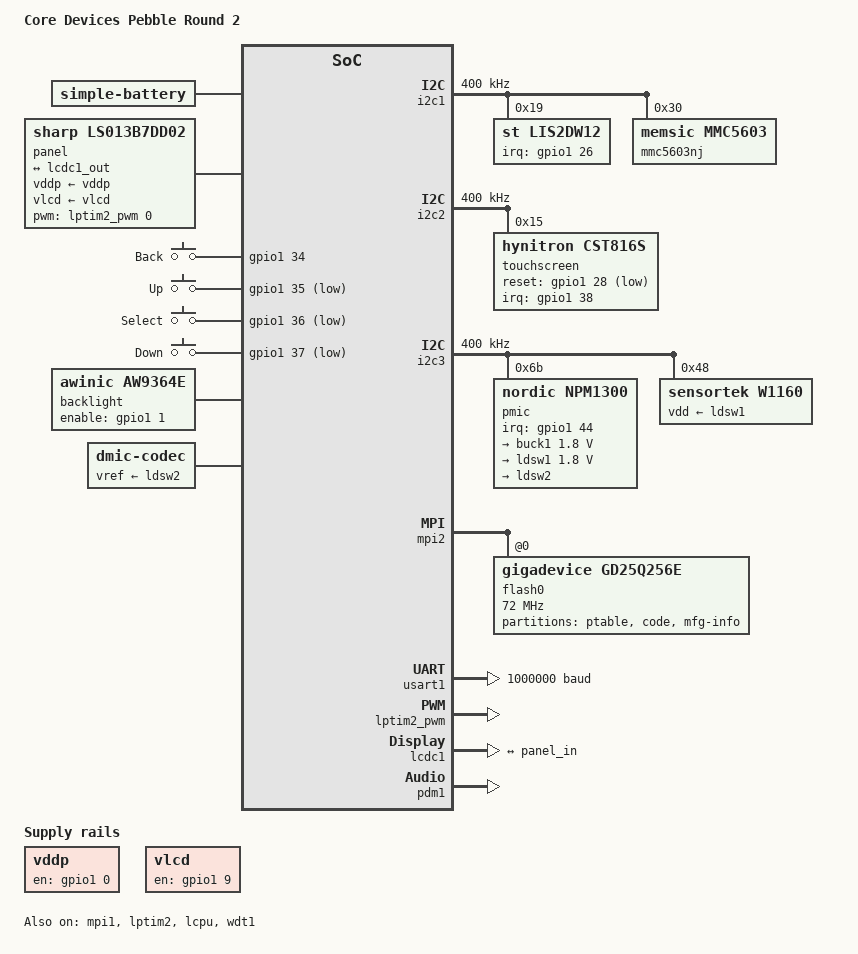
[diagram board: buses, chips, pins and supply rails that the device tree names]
// SPDX-FileCopyrightText: 2026 Core Devices LLC
// SPDX-License-Identifier: (GPL-2.0-only OR BSD-2-Clause)

#include "sifli/sf32lb52j.dtsi"
#include "sifli/sf32lb52xud.dtsi"
#include "getafix-pinctrl.dtsi"

#include <dt-bindings/gpio/gpio.h>
#include <dt-bindings/input/input.h>

/ {
	model = "Core Devices Pebble Round 2";

	battery: battery {
		compatible = "simple-battery";
		constant-charge-current-max-microamp = <70000>;
		charge-term-current-microamp = <7000>;
		constant-charge-voltage-max-microvolt = <4450000>;
		charge-full-design-microamp-hours = <70860>;
		factory-internal-resistance-micro-ohms = <3000000>;
		ocv-capacity-celsius = <25>;
		ocv-capacity-table-0 = <4394100 100>, <4338800 95>, <4284400 90>, <4226700 85>,
				       <4170700 80>, <4115800 75>, <4061000 70>, <4002900 65>,
				       <3951500 60>, <3912000 55>, <3878700 50>, <3849700 45>,
				       <3824900 40>, <3802800 35>, <3779900 30>, <3757400 25>,
				       <3734400 20>, <3701800 15>, <3682600 10>, <3675700 8>,
				       <3641300 5>, <3516500 3>, <3470300 2>, <3378700 1>,
				       <3113100 0>;
	};

	vddp: regulator-vddp {
		compatible = "regulator-fixed";
		regulator-name = "vddp";
		gpios = <&gpio1 0 GPIO_ACTIVE_HIGH>;
		enable-active-high;
	};

	vlcd: regulator-vlcd {
		compatible = "regulator-fixed";
		regulator-name = "vlcd";
		gpios = <&gpio1 9 GPIO_ACTIVE_HIGH>;
		enable-active-high;
	};

	panel: panel {
		compatible = "sharp,ls013b7dd02";
		vddp-supply = <&vddp>;
		vlcd-supply = <&vlcd>;
		pwms = <&lptim2_pwm 0 16666666 0>;
		rotation = <180>;
		jdi,enable-start = <6>;
		jdi,enable-end = <128>;

		panel-timing {
			clock-frequency = <1250000>;
			hactive = <260>;
			vactive = <260>;
			hback-porch = <0>;
			hfront-porch = <8>;
			hsync-len = <0>;
			vback-porch = <0>;
			vfront-porch = <4>;
			vsync-len = <0>;
		};

		port {
			panel_in: endpoint {
				remote-endpoint = <&lcdc1_out>;
			};
		};
	};

	buttons: gpio-keys {
		compatible = "gpio-keys";

		button-back {
			label = "Back";
			gpios = <&gpio1 34 GPIO_ACTIVE_HIGH>;
			linux,code = <KEY_BACK>;
			debounce-interval = <40>;
			wakeup-source;
		};

		button-up {
			label = "Up";
			gpios = <&gpio1 35 (GPIO_ACTIVE_LOW | GPIO_PULL_UP)>;
			linux,code = <KEY_UP>;
			debounce-interval = <40>;
		};

		button-select {
			label = "Select";
			gpios = <&gpio1 36 (GPIO_ACTIVE_LOW | GPIO_PULL_UP)>;
			linux,code = <KEY_SELECT>;
			debounce-interval = <40>;
		};

		button-down {
			label = "Down";
			gpios = <&gpio1 37 (GPIO_ACTIVE_LOW | GPIO_PULL_UP)>;
			linux,code = <KEY_DOWN>;
			debounce-interval = <40>;
		};
	};

	backlight: backlight {
		compatible = "awinic,aw9364e";
		enable-gpios = <&gpio1 1 GPIO_ACTIVE_HIGH>;
	};

	dmic: dmic {
		compatible = "dmic-codec";
		#sound-dai-cells = <0>;
		vref-supply = <&ldsw2>;
	};

	mic: sound-mic {
		compatible = "simple-audio-card";
		simple-audio-card,name = "mic";
		simple-audio-card,format = "pdm";

		simple-audio-card,cpu {
			sound-dai = <&pdm1>;
		};

		simple-audio-card,codec {
			sound-dai = <&dmic>;
		};
	};
};

&i2c1 {
	pinctrl-0 = <&i2c1_default>;
	pinctrl-names = "default";
	clock-frequency = <400000>;
	dmas = <&dmac1 5 22 2>;
	dma-names = "rx";
	status = "okay";

	lis2dw12: accelerometer@19 {
		compatible = "st,lis2dw12";
		reg = <0x19>;
		interrupt-parent = <&gpio1>;
		interrupts = <26 IRQ_TYPE_EDGE_RISING>;
		mount-matrix = "-1", "0", "0",
			       "0", "1", "0",
			       "0", "0", "1";
	};

	mmc5603nj: magnetometer@30 {
		compatible = "memsic,mmc5603";
		reg = <0x30>;
		mount-matrix = "0", "1", "0",
			       "-1", "0", "0",
			       "0", "0", "1";
	};
};

&i2c2 {
	pinctrl-0 = <&i2c2_default>;
	pinctrl-names = "default";
	clock-frequency = <400000>;
	status = "okay";

	touchscreen: touchscreen@15 {
		compatible = "hynitron,cst816s";
		reg = <0x15>;
		pinctrl-0 = <&touch_default>;
		pinctrl-names = "default";
		interrupt-parent = <&gpio1>;
		interrupts = <38 IRQ_TYPE_EDGE_FALLING>;
		reset-gpios = <&gpio1 28 GPIO_ACTIVE_LOW>;
		touchscreen-size-x = <260>;
		touchscreen-size-y = <260>;
	};
};

&i2c3 {
	pinctrl-0 = <&i2c3_default>;
	pinctrl-names = "default";
	clock-frequency = <400000>;
	status = "okay";

	pmic: pmic@6b {
		compatible = "nordic,npm1300";
		reg = <0x6b>;
		interrupt-parent = <&gpio1>;
		interrupts = <44 IRQ_TYPE_EDGE_RISING>;
		gpio-controller;
		#gpio-cells = <2>;
		monitored-battery = <&battery>;
		system-power-controller;
		nordic,reduced-charge-voltage-microvolt = <4000000>;
		nordic,thermistor-ohms = <10000>;
		nordic,thermistor-beta = <3380>;
		nordic,thermistor-hot-celsius = <45>;
		nordic,discharge-current-limit-microamp = <200000>;
		input-current-limit-microamp = <500000>;
		nordic,startup-input-current-limit-microamp = <500000>;

		regulators {
			buck1: BUCK1 {
				regulator-name = "npm1300_buck1";
				regulator-min-microvolt = <1800000>;
				regulator-max-microvolt = <1800000>;
			};

			ldsw1: LDSW1 {
				regulator-name = "npm1300_ldsw1";
				regulator-min-microvolt = <1800000>;
				regulator-max-microvolt = <1800000>;
				regulator-always-on;
				nordic,ldo-mode;
			};

			ldsw2: LDSW2 {
				regulator-name = "npm1300_ldsw2";
			};
		};
	};

	/*
	 * Bench-calibrated on one DVT2 unit, fit above 4500 lux; readings below
	 * about 4000 lux deviated from the fit on that unit and need a re-measure.
	 */
	w1160: light-sensor@48 {
		compatible = "sensortek,w1160";
		reg = <0x48>;
		vdd-supply = <&ldsw1>;
		sensortek,lux-scale = <50 517>;
	};
};

&mpi1 {
	status = "okay";
};

/* VDD_SIP is supplied by BUCK1, more efficient than LDO18 */
&ldo18 {
	/delete-property/ regulator-pull-down;
};

&psram {
	vcc-supply = <&buck1>;
};

/* DLL2 clocks the flash */
&hpsys_rcc {
	assigned-clocks = <&hpsys_rcc SF32LB52_HPSYS_RCC_CLK_PERI>,
			  <&hpsys_rcc SF32LB52_HPSYS_RCC_CLK_DLL1>,
			  <&hpsys_rcc SF32LB52_HPSYS_RCC_CLK_DLL2>,
			  <&hpsys_rcc SF32LB52_HPSYS_RCC_CLK_SYS>,
			  <&hpsys_rcc SF32LB52_HPSYS_RCC_CLK_HCLK>,
			  <&hpsys_rcc SF32LB52_HPSYS_RCC_CLK_PCLK>,
			  <&hpsys_rcc SF32LB52_HPSYS_RCC_CLK_PCLK2>;
	assigned-clock-parents = <&pmuc SF32LB52_PMUC_CLK_HRC48>, <0>, <0>,
				 <&hpsys_rcc SF32LB52_HPSYS_RCC_CLK_DLL1>,
				 <0>, <0>, <0>;
	assigned-clock-rates = <0>, <240000000>, <288000000>, <0>, <240000000>,
			       <120000000>, <3750000>;
};

&mpi2 {
	status = "okay";
	assigned-clocks = <&hpsys_rcc SF32LB52_HPSYS_RCC_CLK_MPI2_K>;
	assigned-clock-parents = <&hpsys_rcc SF32LB52_HPSYS_RCC_CLK_DLL2>;

	flash0: flash@0 {
		compatible = "gigadevice,gd25q256e", "jedec,spi-nor";
		reg = <0>;
		spi-max-frequency = <72000000>;
		spi-rx-bus-width = <4>;
		spi-tx-bus-width = <4>;

		partitions {
			compatible = "fixed-partitions";
			#address-cells = <1>;
			#size-cells = <1>;

			/* Boot ROM flash table, then the factory calibration data */
			partition@0 {
				label = "ptable";
				reg = <0x0 0x10000>;
			};

			partition@10000 {
				label = "code";
				reg = <0x10000 0x3f0000>;
			};

			/* Factory data */
			partition@1ffe000 {
				label = "mfg-info";
				reg = <0x1ffe000 0x1000>;
			};
		};

		otp {
			compatible = "user-otp";

			nvmem-layout {
				compatible = "fixed-layout";
				#address-cells = <1>;
				#size-cells = <1>;

				hw-version@0 {
					reg = <0x0 0x20>;
				};

				serial-number@20 {
					reg = <0x20 0x20>;
				};

				pcba-serial-number@40 {
					reg = <0x40 0x20>;
				};

				soc_config_user: soc-config-user@800 {
					reg = <0x800 0x100>;
				};

				soc_config_cust: soc-config-cust@1000 {
					reg = <0x1000 0x100>;
				};
			};
		};
	};
};

&usart1 {
	pinctrl-0 = <&usart1_default>;
	pinctrl-names = "default";
	current-speed = <1000000>;
	dmas = <&dmac1 0 5 1>;
	dma-names = "rx";
	status = "okay";
};

&lptim2 {
	status = "okay";
};

&lptim2_pwm {
	pinctrl-0 = <&lptim2_default>;
	pinctrl-names = "default";
	status = "okay";
};

&lcdc1 {
	pinctrl-0 = <&lcdc1_default>;
	pinctrl-1 = <&lcdc1_sleep>;
	pinctrl-names = "default", "sleep";
	status = "okay";

	port {
		lcdc1_out: endpoint {
			remote-endpoint = <&panel_in>;
		};
	};
};

&mailbox1 {
	status = "okay";
};

&mailbox2 {
	status = "okay";
};

&lcpu {
	status = "okay";
};

&pmuc {
	nvmem-cells = <&soc_config_user>, <&soc_config_cust>;
	nvmem-cell-names = "soc-config-user", "soc-config-cust";
};

&pdm1 {
	pinctrl-0 = <&pdm1_default>;
	pinctrl-names = "default";
	dmas = <&dmac1 4 36 0>;
	dma-names = "rx";
	status = "okay";
};

&wdt1 {
	status = "okay";
};
